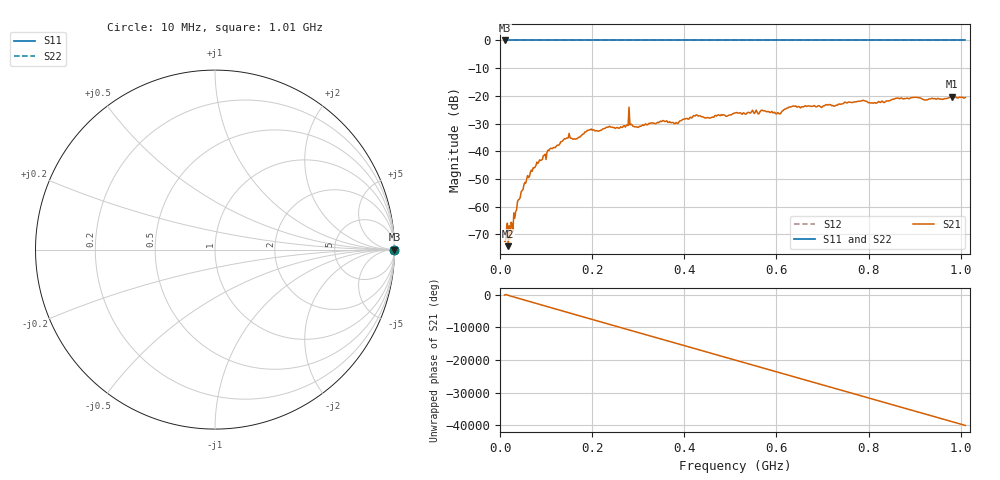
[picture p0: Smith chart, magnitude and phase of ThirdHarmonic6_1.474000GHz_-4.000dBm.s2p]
! 8/16/2025 5:11:35 PM
! C:\ANRITSUVNA\TEMP\TEMP.S2P
! CHANNEL.1
! TR.MEASUREMENT
! RAW.DATA
! RF.CORRECTION.OFF
! AVERAGING.OFF
! IF.BANDWIDTH: 5KHZ
! SWEEPTYPE:  FREQ.SWEEP(Linear)
! Reference Plane Port Info
! PORT:  PORT1  PORT2
! DISTANCE:  0  m  0  m
! TIME:  0  s  0  s
! PHASE.OFFSET:  0  deg.  0  deg.
! LOSS:  0  dB  0  dB
! REF.LOSS:  0  dB  0  dB
! REF.FREQ:  0  Hz  0  Hz
! Power Info
! POWER:  -20  dBm  -20  dBm
! EFF.POWER:  -20  dBm  -20  dBm
! SOURCE.ATTEN:  0  dB  0  dB
! TEST.ATTEN:  0  dB  0  dB
# GHZ S RI R 50.0
! FREQ.GHZ  S11RE  S11IM  S21RE  S21IM  S12RE  S12IM  S22RE  S22IM
!; PortSelection: Port_12
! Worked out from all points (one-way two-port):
!   501 points, 10 MHz to 1.01 GHz, reference 50 ohm
!   highest |S21| = -20.30 dB at 980 MHz (marker M1); lowest = -74.3 dB at 18 MHz (marker M2)
!   lowest |S11| = 0.0 dB at 10 MHz (marker M3)
!   |S11| at or under -10 dB: nowhere
!   |S22| runs from 0.0 to 0.0 dB; largest |S21 - S12| = 1.1
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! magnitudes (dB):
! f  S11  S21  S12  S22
! 10 MHz  0.0  -72.5  0.0  0.0
! 18 MHz  0.0  -74.3  0.0  0.0
! 26 MHz  0.0  -66.2  0.0  0.0
! 50 MHz  0.0  -53.8  0.0  0.0
! 76 MHz  0.0  -45.8  0.0  0.0
! 106 MHz  0.0  -39.8  0.0  0.0
! 146 MHz  0.0  -35.3  0.0  0.0
! 178 MHz  0.0  -34.1  0.0  0.0
! 194 MHz  0.0  -32.3  0.0  0.0
! 262 MHz  0.0  -31.2  0.0  0.0
! 280 MHz  0.0  -24.1  0.0  0.0
! 296 MHz  0.0  -31.2  0.0  0.0
! 344 MHz  0.0  -29.7  0.0  0.0
! 382 MHz  0.0  -29.6  0.0  0.0
! 424 MHz  0.0  -27.2  0.0  0.0
! 510 MHz  0.0  -26.2  0.0  0.0
! 604 MHz  0.0  -26.2  0.0  0.0
! 632 MHz  0.0  -23.9  0.0  0.0
! 678 MHz  0.0  -23.8  0.0  0.0
! 844 MHz  0.0  -21.9  0.0  0.0
! 980 MHz  0.0  -20.3  0.0  0.0
! 1.01 GHz  0.0  -20.6  0.0  0.0
